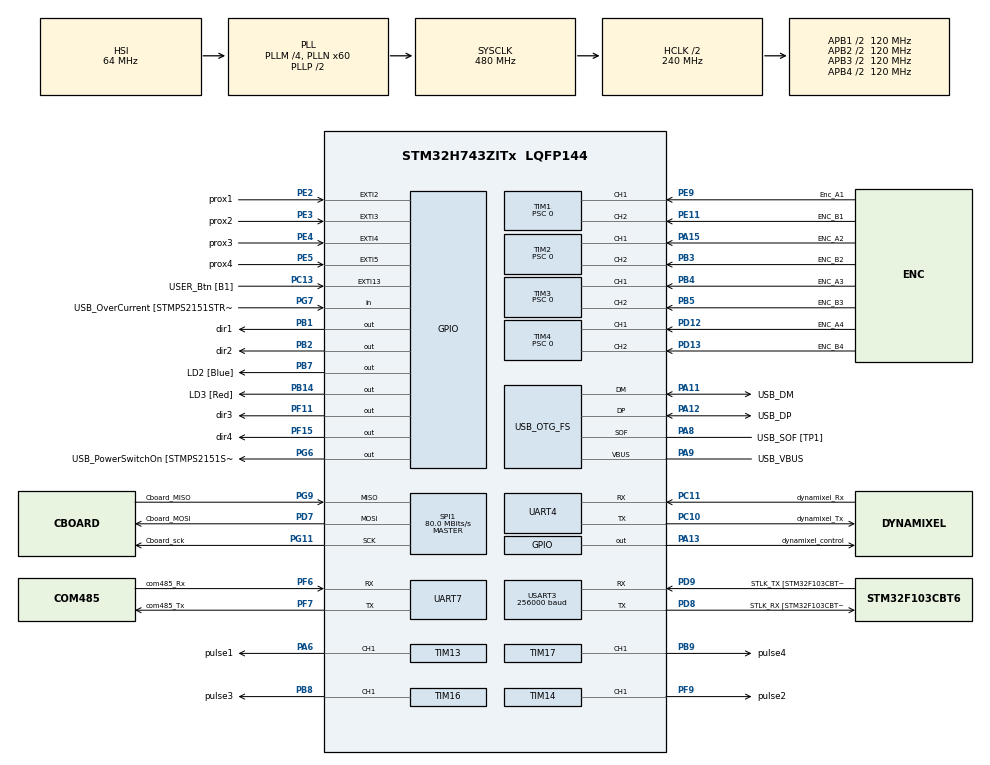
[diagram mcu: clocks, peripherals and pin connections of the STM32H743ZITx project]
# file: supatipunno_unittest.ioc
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PD7.Mode=Full_Duplex_Master
PD12.GPIO_Label=ENC_A4
VP_TIM17_VS_ClockSourceINT.Mode=Enable_Timer
SPI1.VirtualType=VM_MASTER
NVIC.TIM6_DAC_IRQn=true\:0\:0\:false\:false\:true\:true\:true
Dma.USART3_TX.3.MemInc=DMA_MINC_ENABLE
NVIC.DMA1_Stream2_IRQn=true\:0\:0\:false\:false\:true\:false\:true
PB14.GPIO_Label=LD3 [Red]
PG6.GPIO_Label=USB_PowerSwitchOn [STMPS2151STR_EN]
RCC.PLLFRACN=0
PA6.GPIO_Label=pulse1
PA15\ (JTDI).Signal=S_TIM2_CH1
Dma.USART3_TX.3.MemDataAlignment=DMA_MDATAALIGN_BYTE
PF6.GPIO_Label=com485_Rx
RCC.SYSCLKSource=RCC_SYSCLKSOURCE_PLLCLK
USART3.VirtualMode-Asynchronous=VM_ASYNC
Dma.USART3_RX.2.Priority=DMA_PRIORITY_LOW
USART3.BaudRate=256000
PF7.Signal=UART7_TX
SH.S_TIM14_CH1.0=TIM14_CH1,PWM Generation1 CH1
SPI1.Direction=SPI_DIRECTION_2LINES
RCC.APB2TimFreq_Value=216000000
SPI1.CalculateBaudRate=80.0 MBits/s
PD8.Signal=USART3_TX
PE5.Signal=GPXTI5
Dma.UART4_TX.1.FIFOMode=DMA_FIFOMODE_DISABLE
PB2.Signal=GPIO_Output
TIM17.Channel=TIM_CHANNEL_1
RCC.DIVM2=4
RCC.DIVM1=4
PA13\ (JTMS/SWDIO).GPIO_Label=dynamixel_control
PE9.Signal=S_TIM1_CH1
Dma.UART4_RX.0.SignalID=NONE
PB1.GPIO_Label=dir1
SPI1.DataSize=SPI_DATASIZE_8BIT
PE4.GPIO_Label=prox3
SH.S_TIM4_CH2.0=TIM4_CH2,Encoder_Interface
PE2.Signal=GPXTI2
PA8.Signal=USB_OTG_FS_SOF
Dma.UART4_RX.0.PeriphDataAlignment=DMA_PDATAALIGN_BYTE
TIM4.Period=8191
Mcu.Package=LQFP144
PB9.Signal=S_TIM17_CH1
TIM2.Prescaler=0
PB1.Signal=GPIO_Output
Dma.USART3_RX.2.SignalID=NONE
RCC.PLL3FRACN=0
PD12.Signal=S_TIM4_CH1
PA10.Signal=USB_OTG_FS_ID
PC11.Mode=Asynchronous
PC14-OSC32_IN\ (OSC32_IN).Mode=LSE-External-Oscillator
RCC.APB2CLKDivider=RCC_HCLK_DIV2
NVIC.EXTI2_IRQn=true\:0\:0\:false\:false\:true\:true\:true
SH.S_TIM4_CH1.0=TIM4_CH1,Encoder_Interface
RCC.APB4Freq_Value=120000000
RCC.APB1TimFreq_Value=108000000
USART3.DataInvertParam=ADVFEATURE_DATAINV_DISABLE
TIM1.Period=8191
VP_TIM14_VS_ClockSourceINT.Mode=Enable_Timer
TIM16.Prescaler=119
PH0-OSC_IN\ (PH0).Mode=HSE-External-Clock-Source
Dma.UART4_RX.0.MemInc=DMA_MINC_ENABLE
Dma.UART4_RX.0.SyncRequestNumber=1
NVIC.EXTI4_IRQn=true\:0\:0\:false\:false\:true\:true\:true
RCC.DIVQ2=6
RCC.DIVQ1=6
PD9.GPIO_Label=STLK_TX [STM32F103CBT6_PA2]
Dma.USART3_TX.3.SyncEnable=DISABLE
Dma.UART4_TX.1.SyncPolarity=HAL_DMAMUX_SYNC_NO_EVENT
PG9.Signal=SPI1_MISO
PA9.GPIO_Label=USB_VBUS
PC13.Signal=GPXTI13
Dma.UART4_RX.0.Mode=DMA_CIRCULAR
Dma.UART4_RX.0.Polarity=HAL_DMAMUX_REQ_GEN_RISING
PG9.Mode=Full_Duplex_Master
Dma.UART4_TX.1.RequestNumber=1
PD7.Signal=SPI1_MOSI
PA11.GPIO_Label=USB_DM
SH.S_TIM16_CH1.0=TIM16_CH1,PWM Generation1 CH1
Dma.USART3_TX.3.SignalID=NONE
RCC.DIVP2=6
VP_TIM16_VS_ClockSourceINT.Mode=Enable_Timer
RCC.APB1CLKDivider=RCC_HCLK_DIV4
Dma.USART3_TX.3.PeriphInc=DMA_PINC_DISABLE
PB8.GPIO_Label=pulse3
Dma.USART3_RX.2.PeriphDataAlignment=DMA_PDATAALIGN_BYTE
PA8.GPIO_Label=USB_SOF [TP1]
TIM13.Channel=TIM_CHANNEL_1
Dma.UART4_TX.1.Instance=DMA1_Stream3
PE5.GPIO_ModeDefaultEXTI=GPIO_MODE_IT_FALLING
PA9.Signal=USB_OTG_FS_VBUS
RCC.DIVN2=60
RCC.DIVN1=60
Dma.UART4_TX.1.SyncEnable=DISABLE
Dma.UART4_RX.0.PeriphInc=DMA_PINC_DISABLE
PE9.GPIO_Label=Enc_A1
PD8.Mode=Asynchronous
PB14.Signal=GPIO_Output
RCC.USBCLockSelection=RCC_USBCLKSOURCE_HSI48
PE2.GPIO_PuPd=GPIO_NOPULL
Dma.USART3_TX.3.RequestNumber=1
Dma.UART4_RX.0.SyncSignalID=NONE
Dma.UART4_RX.0.FIFOMode=DMA_FIFOMODE_DISABLE
Dma.UART4_RX.0.SyncPolarity=HAL_DMAMUX_SYNC_NO_EVENT
VP_TIM13_VS_ClockSourceINT.Mode=Enable_Timer
TIM14.Channel=TIM_CHANNEL_1
RCC.PRESCALERUSB=RCC_USBCLKSOURCE_PLL_DIV1_5
TIM13.Prescaler=119
SPI1.Mode=SPI_MODE_MASTER
PG7.GPIO_Label=USB_OverCurrent [STMPS2151STR_FAULT]
PE3.GPIO_PuPd=GPIO_NOPULL
TIM2.Period=8191
Dma.UART4_TX.1.SyncSignalID=NONE
TIM14.Prescaler=119
PE4.GPIO_PuPd=GPIO_NOPULL
Dma.USART3_TX.3.Mode=DMA_NORMAL
PE2.PinAttribute=Free
PB5.Signal=S_TIM3_CH2
PE5.GPIO_Label=prox4
PG11.Mode=Full_Duplex_Master
PA11.Signal=USB_OTG_FS_DM
ProjectManager.HeapSize=0x200
PF6.Mode=Asynchronous
PF9.Signal=S_TIM14_CH1
SH.S_TIM17_CH1.0=TIM17_CH1,PWM Generation1 CH1
NVIC.PriorityGroup=NVIC_PRIORITYGROUP_4
Dma.UART4_RX.0.Instance=DMA1_Stream2
Dma.UART4_TX.1.MemDataAlignment=DMA_MDATAALIGN_BYTE
PE3.Signal=GPXTI3
PE2.GPIO_ModeDefaultEXTI=GPIO_MODE_IT_FALLING
PA8.Mode=Activate_SOF_FS
PB4\ (NJTRST).GPIO_Label=ENC_A3
PA13\ (JTMS/SWDIO).Signal=GPIO_Output
Dma.USART3_TX.3.Priority=DMA_PRIORITY_LOW
Dma.UART4_TX.1.Direction=DMA_MEMORY_TO_PERIPH
Mcu.Family=STM32H7
Dma.USART3_RX.2.SyncSignalID=NONE
NVIC.USART3_IRQn=true\:0\:0\:false\:false\:true\:true\:true
Dma.UART4_TX.1.PeriphDataAlignment=DMA_PDATAALIGN_BYTE
USART3.MSBFirstParam=ADVFEATURE_MSBFIRST_DISABLE
TIM17.Prescaler=119
RCC.CortexFreq_Value=480000000
PG6.Signal=GPIO_Output
Dma.USART3_TX.3.PeriphDataAlignment=DMA_PDATAALIGN_BYTE
RCC.HPRE=RCC_HCLK_DIV2
PH0-OSC_IN\ (PH0).Signal=RCC_OSC_IN
PE11.GPIO_Label=ENC_B1
PC10.Signal=UART4_TX
PC15-OSC32_OUT\ (OSC32_OUT).Mode=LSE-External-Oscillator
TIM4.EncoderMode=TIM_ENCODERMODE_TI12
RCC.SYSCLKSourceVirtual=RCC_SYSCLKSOURCE_PLLCLK
NVIC.EXTI3_IRQn=true\:0\:0\:false\:false\:true\:true\:true
TIM1.EncoderMode=TIM_ENCODERMODE_TI12
PA11.Mode=Device_Only
RCC.PLL2FRACN=0
PC13.GPIO_Label=USER_Btn [B1]
NVIC.DMA1_Stream4_IRQn=true\:0\:0\:false\:false\:true\:false\:true
PD9.Mode=Asynchronous
SH.S_TIM13_CH1.0=TIM13_CH1,PWM Generation1 CH1
PG11.Signal=SPI1_SCK
ProjectManager.StackSize=0x400
VP_TIM7_VS_ClockSourceINT.Mode=Enable_Timer
PD13.Signal=S_TIM4_CH2
PA12.Signal=USB_OTG_FS_DP
Dma.USART3_TX.3.EventEnable=DISABLE
TIM1.Prescaler=0
PE5.GPIO_PuPd=GPIO_NOPULL
Dma.UART4_TX.1.Polarity=HAL_DMAMUX_REQ_GEN_RISING
Dma.USART3_RX.2.PeriphInc=DMA_PINC_DISABLE
RCC.HCLKFreq_Value=240000000
PF11.GPIO_Label=dir3
Dma.UART4_TX.1.EventEnable=DISABLE
TIM7.Period=65535
RCC.AHBFreq_Value=216000000
RCC.HSE_VALUE=48000000
Dma.UART4_RX.0.EventEnable=DISABLE
Dma.UART4_TX.1.Mode=DMA_NORMAL
Dma.UART4_RX.0.MemDataAlignment=DMA_MDATAALIGN_BYTE
RCC.PLLMUL=RCC_PLL_MUL9
Dma.USART3_TX.3.Polarity=HAL_DMAMUX_REQ_GEN_RISING
Dma.USART3_TX.3.Direction=DMA_MEMORY_TO_PERIPH
PF7.GPIO_Label=com485_Tx
Dma.USART3_RX.2.SyncEnable=DISABLE
TIM3.Prescaler=0
PF11.Signal=GPIO_Output
PC11.GPIO_Label=dynamixel_Rx
PA10.GPIO_Label=USB_ID
Dma.USART3_TX.3.SyncRequestNumber=1
USART3.FIFOMode=FIFOMODE_DISABLE
PB7.Signal=GPIO_Output
SH.S_TIM3_CH1.0=TIM3_CH1,Encoder_Interface
TIM6.Period=1000
PE4.Signal=GPXTI4
PD7.GPIO_Label=Cboard_MOSI
Dma.USART3_RX.2.Polarity=HAL_DMAMUX_REQ_GEN_RISING
RCC.APB3Freq_Value=120000000
PB1.PinState=GPIO_PIN_RESET
PB7.GPIO_Label=LD2 [Blue]
PD13.GPIO_Label=ENC_B4
PA6.Signal=S_TIM13_CH1
RCC.D1PPRE=RCC_APB3_DIV2
Dma.USART3_TX.3.SyncPolarity=HAL_DMAMUX_SYNC_NO_EVENT
Dma.UART4_TX.1.MemInc=DMA_MINC_ENABLE
Dma.UART4_TX.1.PeriphInc=DMA_PINC_DISABLE
Dma.USART3_RX.2.SyncRequestNumber=1
USB_OTG_FS.VirtualMode=Device_Only
PB5.GPIO_Label=ENC_B3
Dma.Request2=USART3_RX
Dma.Request1=UART4_TX
Dma.Request3=USART3_TX
PG11.GPIO_Label=Cboard_sck
Dma.Request0=UART4_RX
SPI1.BaudRatePrescaler=SPI_BAUDRATEPRESCALER_2
PE2.GPIO_Label=prox1
NVIC.TIM7_IRQn=true\:0\:0\:false\:false\:true\:true\:true
PB3\ (JTDO/TRACESWO).GPIO_Label=ENC_B2
PE3.GPIO_ModeDefaultEXTI=GPIO_MODE_IT_FALLING
SH.S_TIM2_CH1.0=TIM2_CH1,Encoder_Interface
PG7.Signal=GPIO_Input
PB9.GPIO_Label=pulse4
PC10.GPIO_Label=dynamixel_Tx
Dma.USART3_RX.2.Mode=DMA_CIRCULAR
PC11.Signal=UART4_RX
TIM6.Prescaler=119
PC10.Mode=Asynchronous
VP_TIM6_VS_ClockSourceINT.Mode=Enable_Timer
PE4.GPIO_ModeDefaultEXTI=GPIO_MODE_IT_FALLING
RCC.D2PPRE2=RCC_APB2_DIV2
RCC.D2PPRE1=RCC_APB1_DIV2
PD9.Signal=USART3_RX
TIM16.Channel=TIM_CHANNEL_1
PA12.GPIO_Label=USB_DP
Dma.UART4_RX.0.SyncEnable=DISABLE
PD8.GPIO_Label=STLK_RX [STM32F103CBT6_PA3]
PF7.Mode=Asynchronous
SH.S_TIM2_CH2.0=TIM2_CH2,Encoder_Interface
PA9.Mode=Activate_VBUS
SH.S_TIM1_CH1.0=TIM1_CH1,Encoder_Interface
Dma.USART3_RX.2.MemInc=DMA_MINC_ENABLE
Dma.UART4_RX.0.Direction=DMA_PERIPH_TO_MEMORY
PF6.Signal=UART7_RX
PB3\ (JTDO/TRACESWO).Signal=S_TIM2_CH2
ProjectManager.TargetToolchain=STM32CubeIDE
PC15-OSC32_OUT\ (OSC32_OUT).Signal=RCC_OSC32_OUT
NVIC.DMA1_Stream5_IRQn=true\:0\:0\:false\:false\:true\:false\:true
Dma.USART3_RX.2.EventEnable=DISABLE
Dma.USART3_TX.3.FIFOMode=DMA_FIFOMODE_DISABLE
RCC.USBFreq_Value=48000000
PF9.GPIO_Label=pulse2
TIM4.Prescaler=0
PE11.Signal=S_TIM1_CH2
Dma.USART3_RX.2.Direction=DMA_PERIPH_TO_MEMORY
PG9.GPIO_Label=Cboard_MISO
SH.S_TIM3_CH2.0=TIM3_CH2,Encoder_Interface
Dma.USART3_TX.3.Instance=DMA1_Stream5
TIM7.Prescaler=480
board=NUCLEO-H743ZI
Dma.UART4_TX.1.SyncRequestNumber=1
RCC.VCOOutputFreq_Value=432000000
Dma.UART4_RX.0.Priority=DMA_PRIORITY_LOW
RCC.APB2Freq_Value=120000000
Dma.USART3_TX.3.SyncSignalID=NONE
SH.S_TIM1_CH2.0=TIM1_CH2,Encoder_Interface
RCC.ADCFreq_Value=160000000
PF15.GPIO_Label=dir4
PF15.Signal=GPIO_Output
Dma.UART4_RX.0.RequestNumber=1
PA15\ (JTDI).GPIO_Label=ENC_A2
Mcu.Name=STM32H743ZITx
RCC.PLL3_VCI_Range-AdvancedSettings=RCC_PLL3VCIRANGE_3
RCC.48MHZClocksFreq_Value=24000000
RCC.SYSCLKFreq_VALUE=480000000
PA12.Mode=Device_Only
PC14-OSC32_IN\ (OSC32_IN).Signal=RCC_OSC32_IN
NVIC.EXTI9_5_IRQn=true\:0\:0\:false\:false\:true\:true\:true
PB2.GPIO_Label=dir2
Dma.UART4_TX.1.Priority=DMA_PRIORITY_LOW
Dma.USART3_RX.2.FIFOMode=DMA_FIFOMODE_DISABLE
Dma.USART3_RX.2.SyncPolarity=HAL_DMAMUX_SYNC_NO_EVENT
RCC.HSI_VALUE=64000000
RCC.PLLQ=9
Dma.USART3_RX.2.MemDataAlignment=DMA_MDATAALIGN_BYTE
PH0-OSC_IN\ (PH0).GPIO_Label=MCO
RCC.PLLM=25
RCC.PLLN=432
PB8.Signal=S_TIM16_CH1
Dma.UART4_TX.1.SignalID=NONE
PE3.GPIO_Label=prox2
NVIC.DMA1_Stream3_IRQn=true\:0\:0\:false\:false\:true\:false\:true
RCC.D3PPRE=RCC_APB4_DIV2
Dma.USART3_RX.2.Instance=DMA1_Stream4
RCC.APB1Freq_Value=120000000
PB4\ (NJTRST).Signal=S_TIM3_CH1
Dma.USART3_RX.2.RequestNumber=1

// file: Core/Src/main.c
/* USER CODE BEGIN Header */
/**
  ******************************************************************************
  * @file           : main.c
  * @brief          : Main program body
  ******************************************************************************
  * @attention
  *
  * <h2><center>&copy; Copyright (c) 2022 STMicroelectronics.
  * All rights reserved.</center></h2>
  *
  * This software component is licensed by ST under BSD 3-Clause license,
  * the "License"; You may not use this file except in compliance with the
  * License. You may obtain a copy of the License at:
  *                        opensource.org/licenses/BSD-3-Clause
  *
  ******************************************************************************
  */
/* USER CODE END Header */
#include "main.h"

/* USER CODE BEGIN Includes */
#include "string.h"
#include<stdio.h>
#include<stdlib.h>
/* USER CODE END Includes */

/* USER CODE BEGIN PD */

#define _motor_enable 0
#define _motor_disable 1
#define _dir_motor_ccw 0
#define _dir_motor_cw 1

/* USER CODE END PD */

SPI_HandleTypeDef hspi1;

TIM_HandleTypeDef htim1;
TIM_HandleTypeDef htim2;
TIM_HandleTypeDef htim3;
TIM_HandleTypeDef htim4;
TIM_HandleTypeDef htim6;
TIM_HandleTypeDef htim7;
TIM_HandleTypeDef htim13;
TIM_HandleTypeDef htim14;
TIM_HandleTypeDef htim16;
TIM_HandleTypeDef htim17;

UART_HandleTypeDef huart4;
UART_HandleTypeDef huart7;
UART_HandleTypeDef huart3;
DMA_HandleTypeDef hdma_uart4_rx;
DMA_HandleTypeDef hdma_uart4_tx;
DMA_HandleTypeDef hdma_usart3_rx;
DMA_HandleTypeDef hdma_usart3_tx;

PCD_HandleTypeDef hpcd_USB_OTG_FS;

/* USER CODE BEGIN PV */

//time

uint64_t _micros = 0;

uint8_t prox[4] ={0};

//communication

typedef struct _UartStructure
{
	UART_HandleTypeDef *huart;
	uint16_t TxLen, RxLen;
	uint8_t *TxBuffer;
	uint16_t TxTail, TxHead;
	uint8_t *RxBuffer;
	uint16_t RxTail; //RXHeadUseDMA

} UARTStucrture;

UARTStucrture UARTX = { 0 };

uint8_t MainMemory[255] = { 0 };

uint32_t encoder[4] = {0};

//dynamixel control
typedef enum
{
	DNMXP_idle,
	DNMXP_1stHeader,
	DNMXP_2ndHeader,
	DNMXP_3rdHeader,
	DNMXP_Reserved,
	DNMXP_ID,
	DNMXP_LEN1,
	DNMXP_LEN2,
	DNMXP_Inst,
	DNMXP_ParameterCollect,
	DNMXP_CRCAndExecute

} DNMXPState;

/* USER CODE END PV */

void SystemClock_Config(void);
static void MX_GPIO_Init(void);
static void MX_DMA_Init(void);
static void MX_USART3_UART_Init(void);
static void MX_USB_OTG_FS_PCD_Init(void);
static void MX_SPI1_Init(void);
static void MX_TIM1_Init(void);
static void MX_TIM3_Init(void);
static void MX_TIM4_Init(void);
static void MX_TIM13_Init(void);
static void MX_TIM14_Init(void);
static void MX_TIM16_Init(void);
static void MX_TIM17_Init(void);
static void MX_UART4_Init(void);
static void MX_TIM6_Init(void);
static void MX_TIM7_Init(void);
static void MX_TIM2_Init(void);
static void MX_UART7_Init(void);
/* USER CODE BEGIN PFP */

void motorset(uint8_t Motor_Number[],uint8_t dir[],double Freequency,float Duty_Cycle);
uint64_t micros();

//comuication
void UARTInit(UARTStucrture *uart);
void UARTResetStart(UARTStucrture *uart);
uint32_t UARTGetRxHead(UARTStucrture *uart);
int16_t UARTReadChar(UARTStucrture *uart);
void UARTTxDumpBuffer(UARTStucrture *uart);
void UARTTxWrite(UARTStucrture *uart, uint8_t *pData, uint16_t len);

//dynamixel control
unsigned short update_crc(unsigned short crc_accum, unsigned char *data_blk_ptr,
		unsigned short data_blk_size);
void DynamixelProtocal2(uint8_t *Memory, uint8_t MotorID, int16_t dataIn,
		UARTStucrture *uart);

/* USER CODE END PFP */

int main(void)
{

  /* MCU Configuration--------------------------------------------------------*/

  /* Reset of all peripherals, Initializes the Flash interface and the Systick. */
  HAL_Init();

  /* Configure the system clock */
  SystemClock_Config();

  /* Initialize all configured peripherals */
  MX_GPIO_Init();
  MX_DMA_Init();
  MX_USART3_UART_Init();
  MX_USB_OTG_FS_PCD_Init();
  MX_SPI1_Init();
  MX_TIM1_Init();
  MX_TIM3_Init();
  MX_TIM4_Init();
  MX_TIM13_Init();
  MX_TIM14_Init();
  MX_TIM16_Init();
  MX_TIM17_Init();
  MX_UART4_Init();
  MX_TIM6_Init();
  MX_TIM7_Init();
  MX_TIM2_Init();
  MX_UART7_Init();
  /* USER CODE BEGIN 2 */

//  enable module
  //start PWM for motor J1 J2 J3 J4
  HAL_TIM_PWM_Start(&htim13, TIM_CHANNEL_1);
  HAL_TIM_PWM_Start(&htim14, TIM_CHANNEL_1);
  HAL_TIM_PWM_Start(&htim16, TIM_CHANNEL_1);
  HAL_TIM_PWM_Start(&htim17, TIM_CHANNEL_1);
  //start Timer For encoder J1 J2 J3 J4
  HAL_TIM_Encoder_Start(&htim1, TIM_CHANNEL_ALL);
  HAL_TIM_Encoder_Start(&htim2, TIM_CHANNEL_ALL);
  HAL_TIM_Encoder_Start(&htim3, TIM_CHANNEL_ALL);
  HAL_TIM_Encoder_Start(&htim4, TIM_CHANNEL_ALL);
  //start Timer For Control Loop
  HAL_TIM_Base_Start_IT(&htim6);

  //enable communication
  UARTX.huart = &huart5;
  UARTX.RxLen = 255;
  UARTX.TxLen = 255;
  UARTInit(&UARTX);
  UARTResetStart(&UARTX);

  /* USER CODE END 2 */

  /* Infinite loop */
  while (1)
  {

    /* USER CODE BEGIN 3 */
	encoder[0] = TIM1->CNT;
	encoder[1] = TIM2->CNT;
	encoder[2] = TIM3->CNT;
	encoder[3] = TIM4->CNT;
////	  drive J1
//	  HAL_GPIO_WritePin(GPIOF, GPIO_PIN_13, 0);  //set enable motor drive
//	  HAL_GPIO_WritePin(GPIOB, GPIO_PIN_1, 1); //set motor direction
//	  TIM13->ARR = 15000; //update period
//	  TIM13->CCR1 = 10000;   //update duty cycle
//	  HAL_GPIO_WritePin(GPIOB, GPIO_PIN_2, 1); //set motor direction
//	  TIM14->ARR = 10000; //update period
//	  TIM14->CCR1 = 7000;   //update duty cycle
//	  HAL_GPIO_WritePin(GPIOF, GPIO_PIN_11, 1); //set motor direction
//	  TIM16->ARR = 10000; //update period
//	  TIM16->CCR1 = 7000;   //update duty cycle
//	  HAL_GPIO_WritePin(GPIOF, GPIO_PIN_15, 1); //set motor direction
//	  TIM17->ARR = 10000; //update period
//	  TIM17->CCR1 = 7000;   //update duty cycle

//	  HAL_GPIO_WritePin(GPIOB, GPIO_PIN_1, 1); //set motor direction
  }
  /* USER CODE END 3 */
}

void SystemClock_Config(void)
{
  RCC_OscInitTypeDef RCC_OscInitStruct = {0};
  RCC_ClkInitTypeDef RCC_ClkInitStruct = {0};

  /** Supply configuration update enable
  */
  HAL_PWREx_ConfigSupply(PWR_LDO_SUPPLY);
  /** Configure the main internal regulator output voltage
  */
  __HAL_PWR_VOLTAGESCALING_CONFIG(PWR_REGULATOR_VOLTAGE_SCALE0);

  while(!__HAL_PWR_GET_FLAG(PWR_FLAG_VOSRDY)) {}
  /** Initializes the RCC Oscillators according to the specified parameters
  * in the RCC_OscInitTypeDef structure.
  */
  RCC_OscInitStruct.OscillatorType = RCC_OSCILLATORTYPE_HSI48|RCC_OSCILLATORTYPE_HSI;
  RCC_OscInitStruct.HSIState = RCC_HSI_DIV1;
  RCC_OscInitStruct.HSICalibrationValue = RCC_HSICALIBRATION_DEFAULT;
  RCC_OscInitStruct.HSI48State = RCC_HSI48_ON;
  RCC_OscInitStruct.PLL.PLLState = RCC_PLL_ON;
  RCC_OscInitStruct.PLL.PLLSource = RCC_PLLSOURCE_HSI;
  RCC_OscInitStruct.PLL.PLLM = 4;
  RCC_OscInitStruct.PLL.PLLN = 60;
  RCC_OscInitStruct.PLL.PLLP = 2;
  RCC_OscInitStruct.PLL.PLLQ = 6;
  RCC_OscInitStruct.PLL.PLLR = 2;
  RCC_OscInitStruct.PLL.PLLRGE = RCC_PLL1VCIRANGE_3;
  RCC_OscInitStruct.PLL.PLLVCOSEL = RCC_PLL1VCOWIDE;
  RCC_OscInitStruct.PLL.PLLFRACN = 0;
  if (HAL_RCC_OscConfig(&RCC_OscInitStruct) != HAL_OK)
  {
    Error_Handler();
  }
  /** Initializes the CPU, AHB and APB buses clocks
  */
  RCC_ClkInitStruct.ClockType = RCC_CLOCKTYPE_HCLK|RCC_CLOCKTYPE_SYSCLK
                              |RCC_CLOCKTYPE_PCLK1|RCC_CLOCKTYPE_PCLK2
                              |RCC_CLOCKTYPE_D3PCLK1|RCC_CLOCKTYPE_D1PCLK1;
  RCC_ClkInitStruct.SYSCLKSource = RCC_SYSCLKSOURCE_PLLCLK;
  RCC_ClkInitStruct.SYSCLKDivider = RCC_SYSCLK_DIV1;
  RCC_ClkInitStruct.AHBCLKDivider = RCC_HCLK_DIV2;
  RCC_ClkInitStruct.APB3CLKDivider = RCC_APB3_DIV2;
  RCC_ClkInitStruct.APB1CLKDivider = RCC_APB1_DIV2;
  RCC_ClkInitStruct.APB2CLKDivider = RCC_APB2_DIV2;
  RCC_ClkInitStruct.APB4CLKDivider = RCC_APB4_DIV2;

  if (HAL_RCC_ClockConfig(&RCC_ClkInitStruct, FLASH_LATENCY_4) != HAL_OK)
  {
    Error_Handler();
  }
}

static void MX_SPI1_Init(void)
{

  /* SPI1 parameter configuration*/
  hspi1.Instance = SPI1;
  hspi1.Init.Mode = SPI_MODE_MASTER;
  hspi1.Init.Direction = SPI_DIRECTION_2LINES;
  hspi1.Init.DataSize = SPI_DATASIZE_8BIT;
  hspi1.Init.CLKPolarity = SPI_POLARITY_LOW;
  hspi1.Init.CLKPhase = SPI_PHASE_1EDGE;
  hspi1.Init.NSS = SPI_NSS_SOFT;
  hspi1.Init.BaudRatePrescaler = SPI_BAUDRATEPRESCALER_2;
  hspi1.Init.FirstBit = SPI_FIRSTBIT_MSB;
  hspi1.Init.TIMode = SPI_TIMODE_DISABLE;
  hspi1.Init.CRCCalculation = SPI_CRCCALCULATION_DISABLE;
  hspi1.Init.CRCPolynomial = 0x0;
  hspi1.Init.NSSPMode = SPI_NSS_PULSE_ENABLE;
  hspi1.Init.NSSPolarity = SPI_NSS_POLARITY_LOW;
  hspi1.Init.FifoThreshold = SPI_FIFO_THRESHOLD_01DATA;
  hspi1.Init.TxCRCInitializationPattern = SPI_CRC_INITIALIZATION_ALL_ZERO_PATTERN;
  hspi1.Init.RxCRCInitializationPattern = SPI_CRC_INITIALIZATION_ALL_ZERO_PATTERN;
  hspi1.Init.MasterSSIdleness = SPI_MASTER_SS_IDLENESS_00CYCLE;
  hspi1.Init.MasterInterDataIdleness = SPI_MASTER_INTERDATA_IDLENESS_00CYCLE;
  hspi1.Init.MasterReceiverAutoSusp = SPI_MASTER_RX_AUTOSUSP_DISABLE;
  hspi1.Init.MasterKeepIOState = SPI_MASTER_KEEP_IO_STATE_DISABLE;
  hspi1.Init.IOSwap = SPI_IO_SWAP_DISABLE;
  if (HAL_SPI_Init(&hspi1) != HAL_OK)
  {
    Error_Handler();
  }

}

static void MX_TIM1_Init(void)
{

  TIM_Encoder_InitTypeDef sConfig = {0};
  TIM_MasterConfigTypeDef sMasterConfig = {0};

  htim1.Instance = TIM1;
  htim1.Init.Prescaler = 0;
  htim1.Init.CounterMode = TIM_COUNTERMODE_UP;
  htim1.Init.Period = 8191;
  htim1.Init.ClockDivision = TIM_CLOCKDIVISION_DIV1;
  htim1.Init.RepetitionCounter = 0;
  htim1.Init.AutoReloadPreload = TIM_AUTORELOAD_PRELOAD_DISABLE;
  sConfig.EncoderMode = TIM_ENCODERMODE_TI12;
  sConfig.IC1Polarity = TIM_ICPOLARITY_RISING;
  sConfig.IC1Selection = TIM_ICSELECTION_DIRECTTI;
  sConfig.IC1Prescaler = TIM_ICPSC_DIV1;
  sConfig.IC1Filter = 0;
  sConfig.IC2Polarity = TIM_ICPOLARITY_RISING;
  sConfig.IC2Selection = TIM_ICSELECTION_DIRECTTI;
  sConfig.IC2Prescaler = TIM_ICPSC_DIV1;
  sConfig.IC2Filter = 0;
  if (HAL_TIM_Encoder_Init(&htim1, &sConfig) != HAL_OK)
  {
    Error_Handler();
  }
  sMasterConfig.MasterOutputTrigger = TIM_TRGO_RESET;
  sMasterConfig.MasterOutputTrigger2 = TIM_TRGO2_RESET;
  sMasterConfig.MasterSlaveMode = TIM_MASTERSLAVEMODE_DISABLE;
  if (HAL_TIMEx_MasterConfigSynchronization(&htim1, &sMasterConfig) != HAL_OK)
  {
    Error_Handler();
  }

}

static void MX_TIM2_Init(void)
{

  TIM_Encoder_InitTypeDef sConfig = {0};
  TIM_MasterConfigTypeDef sMasterConfig = {0};

  htim2.Instance = TIM2;
  htim2.Init.Prescaler = 0;
  htim2.Init.CounterMode = TIM_COUNTERMODE_UP;
  htim2.Init.Period = 8191;
  htim2.Init.ClockDivision = TIM_CLOCKDIVISION_DIV1;
  htim2.Init.AutoReloadPreload = TIM_AUTORELOAD_PRELOAD_DISABLE;
  sConfig.EncoderMode = TIM_ENCODERMODE_TI1;
  sConfig.IC1Polarity = TIM_ICPOLARITY_RISING;
  sConfig.IC1Selection = TIM_ICSELECTION_DIRECTTI;
  sConfig.IC1Prescaler = TIM_ICPSC_DIV1;
  sConfig.IC1Filter = 0;
  sConfig.IC2Polarity = TIM_ICPOLARITY_RISING;
  sConfig.IC2Selection = TIM_ICSELECTION_DIRECTTI;
  sConfig.IC2Prescaler = TIM_ICPSC_DIV1;
  sConfig.IC2Filter = 0;
  if (HAL_TIM_Encoder_Init(&htim2, &sConfig) != HAL_OK)
  {
    Error_Handler();
  }
  sMasterConfig.MasterOutputTrigger = TIM_TRGO_RESET;
  sMasterConfig.MasterSlaveMode = TIM_MASTERSLAVEMODE_DISABLE;
  if (HAL_TIMEx_MasterConfigSynchronization(&htim2, &sMasterConfig) != HAL_OK)
  {
    Error_Handler();
  }

}

static void MX_TIM3_Init(void)
{

  TIM_Encoder_InitTypeDef sConfig = {0};
  TIM_MasterConfigTypeDef sMasterConfig = {0};

  htim3.Instance = TIM3;
  htim3.Init.Prescaler = 0;
  htim3.Init.CounterMode = TIM_COUNTERMODE_UP;
  htim3.Init.Period = 65535;
  htim3.Init.ClockDivision = TIM_CLOCKDIVISION_DIV1;
  htim3.Init.AutoReloadPreload = TIM_AUTORELOAD_PRELOAD_DISABLE;
  sConfig.EncoderMode = TIM_ENCODERMODE_TI1;
  sConfig.IC1Polarity = TIM_ICPOLARITY_RISING;
  sConfig.IC1Selection = TIM_ICSELECTION_DIRECTTI;
  sConfig.IC1Prescaler = TIM_ICPSC_DIV1;
  sConfig.IC1Filter = 0;
  sConfig.IC2Polarity = TIM_ICPOLARITY_RISING;
  sConfig.IC2Selection = TIM_ICSELECTION_DIRECTTI;
  sConfig.IC2Prescaler = TIM_ICPSC_DIV1;
  sConfig.IC2Filter = 0;
  if (HAL_TIM_Encoder_Init(&htim3, &sConfig) != HAL_OK)
  {
    Error_Handler();
  }
  sMasterConfig.MasterOutputTrigger = TIM_TRGO_RESET;
  sMasterConfig.MasterSlaveMode = TIM_MASTERSLAVEMODE_DISABLE;
  if (HAL_TIMEx_MasterConfigSynchronization(&htim3, &sMasterConfig) != HAL_OK)
  {
    Error_Handler();
  }

}

static void MX_TIM4_Init(void)
{

  TIM_Encoder_InitTypeDef sConfig = {0};
  TIM_MasterConfigTypeDef sMasterConfig = {0};

  htim4.Instance = TIM4;
  htim4.Init.Prescaler = 0;
  htim4.Init.CounterMode = TIM_COUNTERMODE_UP;
  htim4.Init.Period = 8191;
  htim4.Init.ClockDivision = TIM_CLOCKDIVISION_DIV1;
  htim4.Init.AutoReloadPreload = TIM_AUTORELOAD_PRELOAD_DISABLE;
  sConfig.EncoderMode = TIM_ENCODERMODE_TI12;
  sConfig.IC1Polarity = TIM_ICPOLARITY_RISING;
  sConfig.IC1Selection = TIM_ICSELECTION_DIRECTTI;
  sConfig.IC1Prescaler = TIM_ICPSC_DIV1;
  sConfig.IC1Filter = 0;
  sConfig.IC2Polarity = TIM_ICPOLARITY_RISING;
  sConfig.IC2Selection = TIM_ICSELECTION_DIRECTTI;
  sConfig.IC2Prescaler = TIM_ICPSC_DIV1;
  sConfig.IC2Filter = 0;
  if (HAL_TIM_Encoder_Init(&htim4, &sConfig) != HAL_OK)
  {
    Error_Handler();
  }
  sMasterConfig.MasterOutputTrigger = TIM_TRGO_RESET;
  sMasterConfig.MasterSlaveMode = TIM_MASTERSLAVEMODE_DISABLE;
  if (HAL_TIMEx_MasterConfigSynchronization(&htim4, &sMasterConfig) != HAL_OK)
  {
    Error_Handler();
  }

}

static void MX_TIM6_Init(void)
{

  TIM_MasterConfigTypeDef sMasterConfig = {0};

  htim6.Instance = TIM6;
  htim6.Init.Prescaler = 119;
  htim6.Init.CounterMode = TIM_COUNTERMODE_UP;
  htim6.Init.Period = 1000;
  htim6.Init.AutoReloadPreload = TIM_AUTORELOAD_PRELOAD_DISABLE;
  if (HAL_TIM_Base_Init(&htim6) != HAL_OK)
  {
    Error_Handler();
  }
  sMasterConfig.MasterOutputTrigger = TIM_TRGO_RESET;
  sMasterConfig.MasterSlaveMode = TIM_MASTERSLAVEMODE_DISABLE;
  if (HAL_TIMEx_MasterConfigSynchronization(&htim6, &sMasterConfig) != HAL_OK)
  {
    Error_Handler();
  }

}

static void MX_TIM7_Init(void)
{

  TIM_MasterConfigTypeDef sMasterConfig = {0};

  htim7.Instance = TIM7;
  htim7.Init.Prescaler = 480;
  htim7.Init.CounterMode = TIM_COUNTERMODE_UP;
  htim7.Init.Period = 65535;
  htim7.Init.AutoReloadPreload = TIM_AUTORELOAD_PRELOAD_DISABLE;
  if (HAL_TIM_Base_Init(&htim7) != HAL_OK)
  {
    Error_Handler();
  }
  sMasterConfig.MasterOutputTrigger = TIM_TRGO_RESET;
  sMasterConfig.MasterSlaveMode = TIM_MASTERSLAVEMODE_DISABLE;
  if (HAL_TIMEx_MasterConfigSynchronization(&htim7, &sMasterConfig) != HAL_OK)
  {
    Error_Handler();
  }

}

static void MX_TIM13_Init(void)
{

  TIM_OC_InitTypeDef sConfigOC = {0};

  htim13.Instance = TIM13;
  htim13.Init.Prescaler = 119;
  htim13.Init.CounterMode = TIM_COUNTERMODE_UP;
  htim13.Init.Period = 65535;
  htim13.Init.ClockDivision = TIM_CLOCKDIVISION_DIV1;
  htim13.Init.AutoReloadPreload = TIM_AUTORELOAD_PRELOAD_DISABLE;
  if (HAL_TIM_Base_Init(&htim13) != HAL_OK)
  {
    Error_Handler();
  }
  if (HAL_TIM_PWM_Init(&htim13) != HAL_OK)
  {
    Error_Handler();
  }
  sConfigOC.OCMode = TIM_OCMODE_PWM1;
  sConfigOC.Pulse = 0;
  sConfigOC.OCPolarity = TIM_OCPOLARITY_HIGH;
  sConfigOC.OCFastMode = TIM_OCFAST_DISABLE;
  if (HAL_TIM_PWM_ConfigChannel(&htim13, &sConfigOC, TIM_CHANNEL_1) != HAL_OK)
  {
    Error_Handler();
  }
  HAL_TIM_MspPostInit(&htim13);

}

static void MX_TIM14_Init(void)
{

  TIM_OC_InitTypeDef sConfigOC = {0};

  htim14.Instance = TIM14;
  htim14.Init.Prescaler = 119;
  htim14.Init.CounterMode = TIM_COUNTERMODE_UP;
  htim14.Init.Period = 65535;
  htim14.Init.ClockDivision = TIM_CLOCKDIVISION_DIV1;
  htim14.Init.AutoReloadPreload = TIM_AUTORELOAD_PRELOAD_DISABLE;
  if (HAL_TIM_Base_Init(&htim14) != HAL_OK)
  {
    Error_Handler();
  }
  if (HAL_TIM_PWM_Init(&htim14) != HAL_OK)
  {
    Error_Handler();
  }
  sConfigOC.OCMode = TIM_OCMODE_PWM1;
  sConfigOC.Pulse = 0;
  sConfigOC.OCPolarity = TIM_OCPOLARITY_HIGH;
  sConfigOC.OCFastMode = TIM_OCFAST_DISABLE;
  if (HAL_TIM_PWM_ConfigChannel(&htim14, &sConfigOC, TIM_CHANNEL_1) != HAL_OK)
  {
    Error_Handler();
  }
  HAL_TIM_MspPostInit(&htim14);

}

static void MX_TIM16_Init(void)
{

  TIM_OC_InitTypeDef sConfigOC = {0};
  TIM_BreakDeadTimeConfigTypeDef sBreakDeadTimeConfig = {0};

  htim16.Instance = TIM16;
  htim16.Init.Prescaler = 119;
  htim16.Init.CounterMode = TIM_COUNTERMODE_UP;
  htim16.Init.Period = 65535;
  htim16.Init.ClockDivision = TIM_CLOCKDIVISION_DIV1;
  htim16.Init.RepetitionCounter = 0;
  htim16.Init.AutoReloadPreload = TIM_AUTORELOAD_PRELOAD_DISABLE;
  if (HAL_TIM_Base_Init(&htim16) != HAL_OK)
  {
    Error_Handler();
  }
  if (HAL_TIM_PWM_Init(&htim16) != HAL_OK)
  {
    Error_Handler();
  }
  sConfigOC.OCMode = TIM_OCMODE_PWM1;
  sConfigOC.Pulse = 0;
  sConfigOC.OCPolarity = TIM_OCPOLARITY_HIGH;
  sConfigOC.OCNPolarity = TIM_OCNPOLARITY_HIGH;
  sConfigOC.OCFastMode = TIM_OCFAST_DISABLE;
  sConfigOC.OCIdleState = TIM_OCIDLESTATE_RESET;
  sConfigOC.OCNIdleState = TIM_OCNIDLESTATE_RESET;
  if (HAL_TIM_PWM_ConfigChannel(&htim16, &sConfigOC, TIM_CHANNEL_1) != HAL_OK)
  {
    Error_Handler();
  }
  sBreakDeadTimeConfig.OffStateRunMode = TIM_OSSR_DISABLE;
  sBreakDeadTimeConfig.OffStateIDLEMode = TIM_OSSI_DISABLE;
  sBreakDeadTimeConfig.LockLevel = TIM_LOCKLEVEL_OFF;
  sBreakDeadTimeConfig.DeadTime = 0;
  sBreakDeadTimeConfig.BreakState = TIM_BREAK_DISABLE;
  sBreakDeadTimeConfig.BreakPolarity = TIM_BREAKPOLARITY_HIGH;
  sBreakDeadTimeConfig.BreakFilter = 0;
  sBreakDeadTimeConfig.AutomaticOutput = TIM_AUTOMATICOUTPUT_DISABLE;
  if (HAL_TIMEx_ConfigBreakDeadTime(&htim16, &sBreakDeadTimeConfig) != HAL_OK)
  {
    Error_Handler();
  }
  HAL_TIM_MspPostInit(&htim16);

}

static void MX_TIM17_Init(void)
{

  TIM_OC_InitTypeDef sConfigOC = {0};
  TIM_BreakDeadTimeConfigTypeDef sBreakDeadTimeConfig = {0};

  htim17.Instance = TIM17;
  htim17.Init.Prescaler = 119;
  htim17.Init.CounterMode = TIM_COUNTERMODE_UP;
  htim17.Init.Period = 65535;
  htim17.Init.ClockDivision = TIM_CLOCKDIVISION_DIV1;
  htim17.Init.RepetitionCounter = 0;
  htim17.Init.AutoReloadPreload = TIM_AUTORELOAD_PRELOAD_DISABLE;
  if (HAL_TIM_Base_Init(&htim17) != HAL_OK)
  {
    Error_Handler();
  }
  if (HAL_TIM_PWM_Init(&htim17) != HAL_OK)
  {
    Error_Handler();
  }
  sConfigOC.OCMode = TIM_OCMODE_PWM1;
  sConfigOC.Pulse = 0;
  sConfigOC.OCPolarity = TIM_OCPOLARITY_HIGH;
  sConfigOC.OCNPolarity = TIM_OCNPOLARITY_HIGH;
  sConfigOC.OCFastMode = TIM_OCFAST_DISABLE;
  sConfigOC.OCIdleState = TIM_OCIDLESTATE_RESET;
  sConfigOC.OCNIdleState = TIM_OCNIDLESTATE_RESET;
  if (HAL_TIM_PWM_ConfigChannel(&htim17, &sConfigOC, TIM_CHANNEL_1) != HAL_OK)
  {
    Error_Handler();
  }
  sBreakDeadTimeConfig.OffStateRunMode = TIM_OSSR_DISABLE;
  sBreakDeadTimeConfig.OffStateIDLEMode = TIM_OSSI_DISABLE;
  sBreakDeadTimeConfig.LockLevel = TIM_LOCKLEVEL_OFF;
  sBreakDeadTimeConfig.DeadTime = 0;
  sBreakDeadTimeConfig.BreakState = TIM_BREAK_DISABLE;
  sBreakDeadTimeConfig.BreakPolarity = TIM_BREAKPOLARITY_HIGH;
  sBreakDeadTimeConfig.BreakFilter = 0;
  sBreakDeadTimeConfig.AutomaticOutput = TIM_AUTOMATICOUTPUT_DISABLE;
  if (HAL_TIMEx_ConfigBreakDeadTime(&htim17, &sBreakDeadTimeConfig) != HAL_OK)
  {
    Error_Handler();
  }
  HAL_TIM_MspPostInit(&htim17);

}

static void MX_UART4_Init(void)
{

  huart4.Instance = UART4;
  huart4.Init.BaudRate = 115200;
  huart4.Init.WordLength = UART_WORDLENGTH_8B;
  huart4.Init.StopBits = UART_STOPBITS_1;
  huart4.Init.Parity = UART_PARITY_NONE;
  huart4.Init.Mode = UART_MODE_TX_RX;
  huart4.Init.HwFlowCtl = UART_HWCONTROL_NONE;
  huart4.Init.OverSampling = UART_OVERSAMPLING_16;
  huart4.Init.OneBitSampling = UART_ONE_BIT_SAMPLE_DISABLE;
  huart4.Init.ClockPrescaler = UART_PRESCALER_DIV1;
  huart4.AdvancedInit.AdvFeatureInit = UART_ADVFEATURE_NO_INIT;
  if (HAL_UART_Init(&huart4) != HAL_OK)
  {
    Error_Handler();
  }
  if (HAL_UARTEx_SetTxFifoThreshold(&huart4, UART_TXFIFO_THRESHOLD_1_8) != HAL_OK)
  {
    Error_Handler();
  }
  if (HAL_UARTEx_SetRxFifoThreshold(&huart4, UART_RXFIFO_THRESHOLD_1_8) != HAL_OK)
  {
    Error_Handler();
  }
  if (HAL_UARTEx_DisableFifoMode(&huart4) != HAL_OK)
  {
    Error_Handler();
  }

}

static void MX_UART7_Init(void)
{

  huart7.Instance = UART7;
  huart7.Init.BaudRate = 115200;
  huart7.Init.WordLength = UART_WORDLENGTH_8B;
  huart7.Init.StopBits = UART_STOPBITS_1;
  huart7.Init.Parity = UART_PARITY_NONE;
  huart7.Init.Mode = UART_MODE_TX_RX;
  huart7.Init.HwFlowCtl = UART_HWCONTROL_NONE;
  huart7.Init.OverSampling = UART_OVERSAMPLING_16;
  huart7.Init.OneBitSampling = UART_ONE_BIT_SAMPLE_DISABLE;
  huart7.Init.ClockPrescaler = UART_PRESCALER_DIV1;
  huart7.AdvancedInit.AdvFeatureInit = UART_ADVFEATURE_NO_INIT;
  if (HAL_UART_Init(&huart7) != HAL_OK)
  {
    Error_Handler();
  }
  if (HAL_UARTEx_SetTxFifoThreshold(&huart7, UART_TXFIFO_THRESHOLD_1_8) != HAL_OK)
  {
    Error_Handler();
  }
  if (HAL_UARTEx_SetRxFifoThreshold(&huart7, UART_RXFIFO_THRESHOLD_1_8) != HAL_OK)
  {
    Error_Handler();
  }
  if (HAL_UARTEx_DisableFifoMode(&huart7) != HAL_OK)
  {
    Error_Handler();
  }

}

static void MX_USART3_UART_Init(void)
{

  huart3.Instance = USART3;
  huart3.Init.BaudRate = 256000;
  huart3.Init.WordLength = UART_WORDLENGTH_8B;
  huart3.Init.StopBits = UART_STOPBITS_1;
  huart3.Init.Parity = UART_PARITY_NONE;
  huart3.Init.Mode = UART_MODE_TX_RX;
  huart3.Init.HwFlowCtl = UART_HWCONTROL_NONE;
  huart3.Init.OverSampling = UART_OVERSAMPLING_16;
  huart3.Init.OneBitSampling = UART_ONE_BIT_SAMPLE_DISABLE;
  huart3.Init.ClockPrescaler = UART_PRESCALER_DIV1;
  huart3.AdvancedInit.AdvFeatureInit = UART_ADVFEATURE_NO_INIT;
  if (HAL_UART_Init(&huart3) != HAL_OK)
  {
    Error_Handler();
  }
  if (HAL_UARTEx_SetTxFifoThreshold(&huart3, UART_TXFIFO_THRESHOLD_1_8) != HAL_OK)
  {
    Error_Handler();
  }
  if (HAL_UARTEx_SetRxFifoThreshold(&huart3, UART_RXFIFO_THRESHOLD_1_8) != HAL_OK)
  {
    Error_Handler();
  }
  if (HAL_UARTEx_DisableFifoMode(&huart3) != HAL_OK)
  {
    Error_Handler();
  }

}

static void MX_USB_OTG_FS_PCD_Init(void)
{

  hpcd_USB_OTG_FS.Instance = USB_OTG_FS;
  hpcd_USB_OTG_FS.Init.dev_endpoints = 9;
  hpcd_USB_OTG_FS.Init.speed = PCD_SPEED_FULL;
  hpcd_USB_OTG_FS.Init.dma_enable = DISABLE;
  hpcd_USB_OTG_FS.Init.phy_itface = PCD_PHY_EMBEDDED;
  hpcd_USB_OTG_FS.Init.Sof_enable = ENABLE;
  hpcd_USB_OTG_FS.Init.low_power_enable = DISABLE;
  hpcd_USB_OTG_FS.Init.lpm_enable = DISABLE;
  hpcd_USB_OTG_FS.Init.battery_charging_enable = ENABLE;
  hpcd_USB_OTG_FS.Init.vbus_sensing_enable = ENABLE;
  hpcd_USB_OTG_FS.Init.use_dedicated_ep1 = DISABLE;
  if (HAL_PCD_Init(&hpcd_USB_OTG_FS) != HAL_OK)
  {
    Error_Handler();
  }

}

static void MX_DMA_Init(void)
{

  /* DMA controller clock enable */
  __HAL_RCC_DMA1_CLK_ENABLE();

  /* DMA interrupt init */
  /* DMA1_Stream2_IRQn interrupt configuration */
  HAL_NVIC_SetPriority(DMA1_Stream2_IRQn, 0, 0);
  HAL_NVIC_EnableIRQ(DMA1_Stream2_IRQn);
  /* DMA1_Stream3_IRQn interrupt configuration */
  HAL_NVIC_SetPriority(DMA1_Stream3_IRQn, 0, 0);
  HAL_NVIC_EnableIRQ(DMA1_Stream3_IRQn);
  /* DMA1_Stream4_IRQn interrupt configuration */
  HAL_NVIC_SetPriority(DMA1_Stream4_IRQn, 0, 0);
  HAL_NVIC_EnableIRQ(DMA1_Stream4_IRQn);
  /* DMA1_Stream5_IRQn interrupt configuration */
  HAL_NVIC_SetPriority(DMA1_Stream5_IRQn, 0, 0);
  HAL_NVIC_EnableIRQ(DMA1_Stream5_IRQn);

}

static void MX_GPIO_Init(void)
{
  GPIO_InitTypeDef GPIO_InitStruct = {0};

  /* GPIO Ports Clock Enable */
  __HAL_RCC_GPIOE_CLK_ENABLE();
  __HAL_RCC_GPIOC_CLK_ENABLE();
  __HAL_RCC_GPIOF_CLK_ENABLE();
  __HAL_RCC_GPIOH_CLK_ENABLE();
  __HAL_RCC_GPIOA_CLK_ENABLE();
  __HAL_RCC_GPIOB_CLK_ENABLE();
  __HAL_RCC_GPIOD_CLK_ENABLE();
  __HAL_RCC_GPIOG_CLK_ENABLE();

  /*Configure GPIO pin Output Level */
  HAL_GPIO_WritePin(GPIOB, dir1_Pin|dir2_Pin|LD3_Pin|LD2_Pin, GPIO_PIN_RESET);

  /*Configure GPIO pin Output Level */
  HAL_GPIO_WritePin(GPIOF, dir3_Pin|dir4_Pin, GPIO_PIN_RESET);

  /*Configure GPIO pin Output Level */
  HAL_GPIO_WritePin(USB_PowerSwitchOn_GPIO_Port, USB_PowerSwitchOn_Pin, GPIO_PIN_RESET);

  /*Configure GPIO pin Output Level */
  HAL_GPIO_WritePin(dynamixel_control_GPIO_Port, dynamixel_control_Pin, GPIO_PIN_RESET);

  /*Configure GPIO pins : prox1_Pin prox2_Pin prox3_Pin prox4_Pin */
  GPIO_InitStruct.Pin = prox1_Pin|prox2_Pin|prox3_Pin|prox4_Pin;
  GPIO_InitStruct.Mode = GPIO_MODE_IT_FALLING;
  GPIO_InitStruct.Pull = GPIO_NOPULL;
  HAL_GPIO_Init(GPIOE, &GPIO_InitStruct);

  /*Configure GPIO pin : USER_Btn_Pin */
  GPIO_InitStruct.Pin = USER_Btn_Pin;
  GPIO_InitStruct.Mode = GPIO_MODE_IT_RISING;
  GPIO_InitStruct.Pull = GPIO_NOPULL;
  HAL_GPIO_Init(USER_Btn_GPIO_Port, &GPIO_InitStruct);

  /*Configure GPIO pins : dir1_Pin dir2_Pin LD3_Pin LD2_Pin */
  GPIO_InitStruct.Pin = dir1_Pin|dir2_Pin|LD3_Pin|LD2_Pin;
  GPIO_InitStruct.Mode = GPIO_MODE_OUTPUT_PP;
  GPIO_InitStruct.Pull = GPIO_NOPULL;
  GPIO_InitStruct.Speed = GPIO_SPEED_FREQ_LOW;
  HAL_GPIO_Init(GPIOB, &GPIO_InitStruct);

  /*Configure GPIO pins : dir3_Pin dir4_Pin */
  GPIO_InitStruct.Pin = dir3_Pin|dir4_Pin;
  GPIO_InitStruct.Mode = GPIO_MODE_OUTPUT_PP;
  GPIO_InitStruct.Pull = GPIO_NOPULL;
  GPIO_InitStruct.Speed = GPIO_SPEED_FREQ_LOW;
  HAL_GPIO_Init(GPIOF, &GPIO_InitStruct);

  /*Configure GPIO pin : USB_PowerSwitchOn_Pin */
  GPIO_InitStruct.Pin = USB_PowerSwitchOn_Pin;
  GPIO_InitStruct.Mode = GPIO_MODE_OUTPUT_PP;
  GPIO_InitStruct.Pull = GPIO_NOPULL;
  GPIO_InitStruct.Speed = GPIO_SPEED_FREQ_LOW;
  HAL_GPIO_Init(USB_PowerSwitchOn_GPIO_Port, &GPIO_InitStruct);

  /*Configure GPIO pin : USB_OverCurrent_Pin */
  GPIO_InitStruct.Pin = USB_OverCurrent_Pin;
  GPIO_InitStruct.Mode = GPIO_MODE_INPUT;
  GPIO_InitStruct.Pull = GPIO_NOPULL;
  HAL_GPIO_Init(USB_OverCurrent_GPIO_Port, &GPIO_InitStruct);

  /*Configure GPIO pin : dynamixel_control_Pin */
  GPIO_InitStruct.Pin = dynamixel_control_Pin;
  GPIO_InitStruct.Mode = GPIO_MODE_OUTPUT_PP;
  GPIO_InitStruct.Pull = GPIO_NOPULL;
  GPIO_InitStruct.Speed = GPIO_SPEED_FREQ_LOW;
  HAL_GPIO_Init(dynamixel_control_GPIO_Port, &GPIO_InitStruct);

  /* EXTI interrupt init*/
  HAL_NVIC_SetPriority(EXTI2_IRQn, 0, 0);
  HAL_NVIC_EnableIRQ(EXTI2_IRQn);

  HAL_NVIC_SetPriority(EXTI3_IRQn, 0, 0);
  HAL_NVIC_EnableIRQ(EXTI3_IRQn);

  HAL_NVIC_SetPriority(EXTI4_IRQn, 0, 0);
  HAL_NVIC_EnableIRQ(EXTI4_IRQn);

  HAL_NVIC_SetPriority(EXTI9_5_IRQn, 0, 0);
  HAL_NVIC_EnableIRQ(EXTI9_5_IRQn);

}

/* USER CODE BEGIN 4 */

//callback
void HAL_GPIO_EXTI_Callback(uint16_t GPIO_Pin){
	//test proximity
	if(GPIO_Pin == GPIO_PIN_2){
		prox[0] ^= 1;
	}
	else if(GPIO_Pin == GPIO_PIN_3){
		prox[1] ^= 1;
	}
	else if(GPIO_Pin == GPIO_PIN_4){
		prox[2] ^= 1;
	}
	else if(GPIO_Pin == GPIO_PIN_5){
		prox[3] ^= 1;
	}
}

void HAL_TIM_PeriodElapsedCallback(TIM_HandleTypeDef *htim)
{
	if (htim == &htim7)
	{
		_micros += 65535;
	}
}
uint64_t micros()
{
	return _micros + htim7.Instance->CNT;
}

//Step motor test
//void motorset(uint8_t Motor_Number[],uint8_t dir[],double Freequency,float Duty_Cycle){
//
//	/*******************************************************************************
//	 **                                                                           **
//	 **    Motor_Number : index 0 -> J1 , 1 -> J2 , 2 -> J3 , 3 -> J4             **
//	 **    Freequency : Freequency that calculate from control or user command    **
//	 **    Duty_Cycle : Duty cycle of pulse have value between 0 - 100            **
//	 **                                                                           **
//	 *******************************************************************************/
//
//	uint32_t Period = 1000000/Freequency;
//	uint32_t PWM = Period * Duty_Cycle / 100;
//
//	if(Motor_Number[0] == 1){
//
//		HAL_GPIO_WritePin(GPIOF, GPIO_PIN_13, 1);  //set enable motor drive
//		HAL_GPIO_WritePin(GPIOB, GPIO_PIN_1, dir[0]); //set motor direction
//
//		TIM13->ARR = 10000; //update period
//		TIM13->CCR1 = 7000;   //update duty cycle
//
//	}
//	else if(Motor_Number[1] == 1){
//
//		HAL_GPIO_WritePin(GPIOF, GPIO_PIN_14, 1);  //set enable motor drive
//		HAL_GPIO_WritePin(GPIOB, GPIO_PIN_2, dir[1]); //set motor direction
//
//		TIM14->ARR = 10000;
//		TIM14->CCR1 = 7000;
//
//	}
//	else if(Motor_Number[2] == 1){
//
//		HAL_GPIO_WritePin(GPIOF, GPIO_PIN_12, 1);  //set enable motor drive
//		HAL_GPIO_WritePin(GPIOF, GPIO_PIN_11, dir[2]); //set motor direction
//
//		TIM16->ARR = Period;
//		TIM16->CCR1 = PWM;
//
//	}
//	else if(Motor_Number[3] == 1){
//
//		HAL_GPIO_WritePin(GPIOG, GPIO_PIN_0, 1);  //set enable motor drive
//		HAL_GPIO_WritePin(GPIOF, GPIO_PIN_15, dir[3]); //set motor direction
//
//		TIM17->ARR = Period;
//		TIM17->CCR1 = PWM;
//	}
//}

void UARTInit(UARTStucrture *uart)
{
	//dynamic memory allocate
	uart->RxBuffer = (uint8_t*)calloc(sizeof(uint8_t), uart->RxLen);
	uart->TxBuffer = (uint8_t*)calloc(sizeof(uint8_t), uart->TxLen);
	uart->RxTail = 0;
	uart->TxTail = 0;
	uart->TxHead = 0;

}

void UARTResetStart(UARTStucrture *uart)
{
	HAL_UART_Receive_IT(uart->huart, uart->RxBuffer, uart->RxLen);
}

uint32_t UARTGetRxHead(UARTStucrture *uart)
{
	return uart->RxLen - uart->huart->RxXferCount;
}
int16_t UARTReadChar(UARTStucrture *uart)
{
	int16_t Result = -1; // -1 Mean no new data

	//check Buffer Position
	if (uart->RxTail != UARTGetRxHead(uart))
	{
		//get data from buffer
		Result = uart->RxBuffer[uart->RxTail];
		uart->RxTail = (uart->RxTail + 1) % uart->RxLen;

	}
	return Result;

}

//This UARTTxDumpBuff use to send data to other device
void UARTTxDumpBuff(UARTStucrture *uart){

	if(uart->huart->gState == HAL_UART_STATE_READY){
		if(uart->TxHead != uart->TxTail){
			uint16_t sentlen = uart->TxHead > uart->TxTail ?
					uart->TxHead - uart->TxTail :
					uart->TxLen - uart->TxTail;

			HAL_UART_Transmit_IT(uart->huart, &(uart->TxBuffer[uart->TxTail]), sentlen);

			//update tail
			uart->TxTail = (sentlen + uart->TxTail) % uart->TxLen;

		}
	}

}

//This UARTTxWrite use to copy data from data buffer to Tx buffer for transmit it to other device
void UARTTxWrite(UARTStucrture *uart, uint8_t *data, uint16_t len){

	uint16_t lenAddBuff = (len <= uart->TxLen) ? len : uart->TxLen;
	uint16_t numberOfDataCanCopy = lenAddBuff <= uart->TxLen - uart->TxHead ?
			lenAddBuff : uart->TxLen - uart->TxHead;

	//1st copy
	memcpy(&(uart->TxBuffer[uart->TxHead]), data, numberOfDataCanCopy);

	//update TxHead
	uart->TxHead = (uart->TxHead + lenAddBuff) % uart->TxLen;

	//2nd copy when 1st copy not enough memory in buffer
	if(lenAddBuff != numberOfDataCanCopy){
		memcpy(uart->TxBuffer, &(data[numberOfDataCanCopy]),
				lenAddBuff - numberOfDataCanCopy);
	}
	UARTTxDumpBuff(uart);
}
unsigned short update_crc(unsigned short crc_accum, unsigned char *data_blk_ptr,
		unsigned short data_blk_size)
{
	unsigned short i, j;
	unsigned short crc_table[256] =
	{ 0x0000, 0x8005, 0x800F, 0x000A, 0x801B, 0x001E, 0x0014, 0x8011, 0x8033,
			0x0036, 0x003C, 0x8039, 0x0028, 0x802D, 0x8027, 0x0022, 0x8063,
			0x0066, 0x006C, 0x8069, 0x0078, 0x807D, 0x8077, 0x0072, 0x0050,
			0x8055, 0x805F, 0x005A, 0x804B, 0x004E, 0x0044, 0x8041, 0x80C3,
			0x00C6, 0x00CC, 0x80C9, 0x00D8, 0x80DD, 0x80D7, 0x00D2, 0x00F0,
			0x80F5, 0x80FF, 0x00FA, 0x80EB, 0x00EE, 0x00E4, 0x80E1, 0x00A0,
			0x80A5, 0x80AF, 0x00AA, 0x80BB, 0x00BE, 0x00B4, 0x80B1, 0x8093,
			0x0096, 0x009C, 0x8099, 0x0088, 0x808D, 0x8087, 0x0082, 0x8183,
			0x0186, 0x018C, 0x8189, 0x0198, 0x819D, 0x8197, 0x0192, 0x01B0,
			0x81B5, 0x81BF, 0x01BA, 0x81AB, 0x01AE, 0x01A4, 0x81A1, 0x01E0,
			0x81E5, 0x81EF, 0x01EA, 0x81FB, 0x01FE, 0x01F4, 0x81F1, 0x81D3,
			0x01D6, 0x01DC, 0x81D9, 0x01C8, 0x81CD, 0x81C7, 0x01C2, 0x0140,
			0x8145, 0x814F, 0x014A, 0x815B, 0x015E, 0x0154, 0x8151, 0x8173,
			0x0176, 0x017C, 0x8179, 0x0168, 0x816D, 0x8167, 0x0162, 0x8123,
			0x0126, 0x012C, 0x8129, 0x0138, 0x813D, 0x8137, 0x0132, 0x0110,
			0x8115, 0x811F, 0x011A, 0x810B, 0x010E, 0x0104, 0x8101, 0x8303,
			0x0306, 0x030C, 0x8309, 0x0318, 0x831D, 0x8317, 0x0312, 0x0330,
			0x8335, 0x833F, 0x033A, 0x832B, 0x032E, 0x0324, 0x8321, 0x0360,
			0x8365, 0x836F, 0x036A, 0x837B, 0x037E, 0x0374, 0x8371, 0x8353,
			0x0356, 0x035C, 0x8359, 0x0348, 0x834D, 0x8347, 0x0342, 0x03C0,
			0x83C5, 0x83CF, 0x03CA, 0x83DB, 0x03DE, 0x03D4, 0x83D1, 0x83F3,
			0x03F6, 0x03FC, 0x83F9, 0x03E8, 0x83ED, 0x83E7, 0x03E2, 0x83A3,
			0x03A6, 0x03AC, 0x83A9, 0x03B8, 0x83BD, 0x83B7, 0x03B2, 0x0390,
			0x8395, 0x839F, 0x039A, 0x838B, 0x038E, 0x0384, 0x8381, 0x0280,
			0x8285, 0x828F, 0x028A, 0x829B, 0x029E, 0x0294, 0x8291, 0x82B3,
			0x02B6, 0x02BC, 0x82B9, 0x02A8, 0x82AD, 0x82A7, 0x02A2, 0x82E3,
			0x02E6, 0x02EC, 0x82E9, 0x02F8, 0x82FD, 0x82F7, 0x02F2, 0x02D0,
			0x82D5, 0x82DF, 0x02DA, 0x82CB, 0x02CE, 0x02C4, 0x82C1, 0x8243,
			0x0246, 0x024C, 0x8249, 0x0258, 0x825D, 0x8257, 0x0252, 0x0270,
			0x8275, 0x827F, 0x027A, 0x826B, 0x026E, 0x0264, 0x8261, 0x0220,
			0x8225, 0x822F, 0x022A, 0x823B, 0x023E, 0x0234, 0x8231, 0x8213,
			0x0216, 0x021C, 0x8219, 0x0208, 0x820D, 0x8207, 0x0202 };

	for (j = 0; j < data_blk_size; j++)
	{
		i = ((unsigned short) (crc_accum >> 8) ^ data_blk_ptr[j]) & 0xFF;
		crc_accum = (crc_accum << 8) ^ crc_table[i];
	}

	return crc_accum;
}

//dynamixel state machine
void DynamixelProtocal2(uint8_t *Memory, uint8_t MotorID, int16_t dataIn,
		UARTStucrture *uart)
{
	//all Static Variable
	static DNMXPState State = DNMXP_idle;
	static uint16_t datalen = 0;
	static uint16_t CollectedData = 0;
	static uint8_t inst = 0;
	static uint8_t parameter[256] = { 0 };
	static uint16_t CRCCheck = 0;
	static uint16_t packetSize = 0;
	static uint16_t CRC_accum;

	//State Machine
	switch (State)
	{
	case DNMXP_idle:
		if (dataIn == 0xFF)
			State = DNMXP_1stHeader;
		break;
	case DNMXP_1stHeader:
		if (dataIn == 0xFF)
			State = DNMXP_2ndHeader;
		else
			State = DNMXP_idle;
		break;
	case DNMXP_2ndHeader:
		if (dataIn == 0xFD)
			State = DNMXP_3rdHeader;
		else if (dataIn == 0xFF)
			; //do nothing
		else
			State = DNMXP_idle;
		break;
	case DNMXP_3rdHeader:
		if (dataIn == 0x00)
			State = DNMXP_Reserved;
		else
			State = DNMXP_idle;
		break;
	case DNMXP_Reserved:
		if ((dataIn == MotorID) | (dataIn == 0xFE))
			State = DNMXP_ID;
		else
			State = DNMXP_idle;
		break;
	case DNMXP_ID:
		datalen = dataIn & 0xFF;
		State = DNMXP_LEN1;
		break;
	case DNMXP_LEN1:
		datalen |= (dataIn & 0xFF) << 8;
		State = DNMXP_LEN2;
		break;
	case DNMXP_LEN2:
		inst = dataIn;
		State = DNMXP_Inst;
		break;
	case DNMXP_Inst:
		if (datalen > 3)
		{
			parameter[0] = dataIn;
			CollectedData = 1; //inst 1 + para[0] 1
			State = DNMXP_ParameterCollect;
		}
		else
		{
			CRCCheck = dataIn & 0xff;
			State = DNMXP_CRCAndExecute;
		}

		break;
	case DNMXP_ParameterCollect:

		if (datalen-3 > CollectedData)
		{
			parameter[CollectedData] = dataIn;
			CollectedData++;
		}
		else
		{
			CRCCheck = dataIn & 0xff;
			State = DNMXP_CRCAndExecute;
		}
		break;
	case DNMXP_CRCAndExecute:
		CRCCheck |= (dataIn & 0xff) << 8;
		//Check CRC
		CRC_accum = 0;
		packetSize = datalen + 7;
		//check overlapse buffer
		if (uart->RxTail - packetSize >= 0) //not overlapse
		{
			CRC_accum = update_crc(CRC_accum,
					&(uart->RxBuffer[uart->RxTail - packetSize]),
					packetSize - 2);
		}
		else//overlapse
		{
			uint16_t firstPartStart = uart->RxTail - packetSize + uart->RxLen;
			CRC_accum = update_crc(CRC_accum, &(uart->RxBuffer[firstPartStart]),
					uart->RxLen - firstPartStart);
			CRC_accum = update_crc(CRC_accum, uart->RxBuffer, uart->RxTail - 2);

		}

		if (CRC_accum == CRCCheck)
		{
			switch (inst)
			{
			case 0x01:// ping
			{
				//create packet template
				uint8_t temp[] =
				{ 0xff, 0xff, 0xfd, 0x00, 0x00, 0x04, 0x00, 0x55,0x00, 0x00, 0x00};
				//config MotorID
				temp[4] = MotorID;
				//calcuate CRC
				uint16_t crc_calc = update_crc(0, temp, 9);
				temp[9] = crc_calc & 0xff;
				temp[10] = (crc_calc >> 8) & 0xFF;
				//Sent Response Packet
				UARTTxWrite(uart, temp, 11);
				break;
			}

			case 0x02://READ
			{
				uint16_t startAddr = (parameter[0]&0xFF)|(parameter[1]<<8 &0xFF);
				uint16_t numberOfDataToRead = (parameter[2]&0xFF)|(parameter[3]<<8 &0xFF);
				uint8_t temp[] = {0xff,0xff,0xfd,0x00,0x00,0x00,0x00,0x55,0x00};
				temp[4] = MotorID;
				temp[5] = (numberOfDataToRead + 4) & 0xff ; // +inst+err+crc1+crc2
				temp[6] = ((numberOfDataToRead + 4)>>8) & 0xff ;
				uint16_t crc_calc = update_crc(0, temp, 9);
				crc_calc = update_crc(crc_calc ,&(Memory[startAddr]),numberOfDataToRead);
				uint8_t crctemp[2];
				crctemp[0] = crc_calc&0xff;
				crctemp[1] = (crc_calc>>8)&0xff;
				UARTTxWrite(uart, temp,9);
				UARTTxWrite(uart, &(Memory[startAddr]),numberOfDataToRead);
				UARTTxWrite(uart, crctemp,2);
				break;
			}
			case 0x03://WRITE
			{
				//LAB
			}
			default: //Unknown Inst
			{
				uint8_t temp[] =
				{ 0xff, 0xff, 0xfd, 0x00, 0x00, 0x05, 0x00, 0x55, 0x02, 0x00,
						0x00 };
				temp[4] = MotorID;
				uint16_t crc_calc = update_crc(0, temp, 9);
				temp[9] = crc_calc & 0xff;
				temp[10] = (crc_calc >> 8) & 0xFF;
				UARTTxWrite(uart, temp, 11);

				break;
			}
			}
		}
		else //crc error
		{
			uint8_t temp[] =
			{ 0xff, 0xff, 0xfd, 0x00, 0x00, 0x05, 0x00, 0x55, 0x03, 0x00, 0x00 };
			temp[4] = MotorID;
			uint16_t crc_calc = update_crc(0, temp, 9);
			temp[9] = crc_calc & 0xff;
			temp[10] = (crc_calc >> 8) & 0xFF;
			UARTTxWrite(uart, temp, 11);
		}
		State = DNMXP_idle;
		break;
	}

}

/* USER CODE END 4 */

void Error_Handler(void)
{
  __disable_irq();
  while (1)
  {
  }
}

/************************ (C) COPYRIGHT STMicroelectronics *****END OF FILE****/
